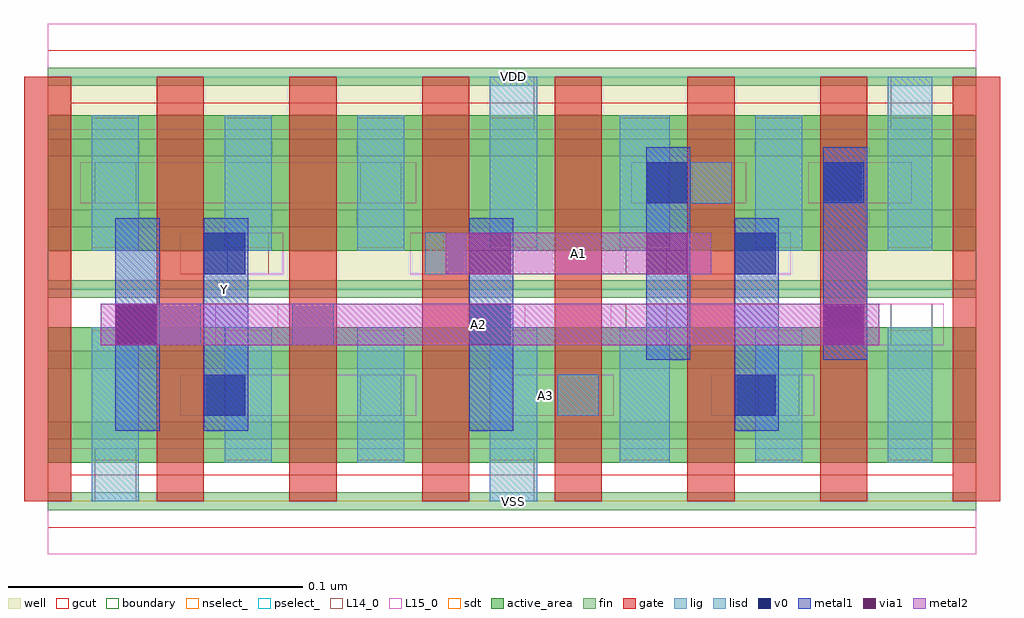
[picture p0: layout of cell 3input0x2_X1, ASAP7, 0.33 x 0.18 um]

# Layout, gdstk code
import gdstk
lib = gdstk.Library(unit=1e-6, precision=1e-09)
def R(c, l, rs):  # rectangles x0, y0, x1, y1
    for r in rs: c.add(gdstk.rectangle(r[:2], r[2:], *l))
def A(c, l, x, y, w, h, nx, ny, dx, dy):  # array of equal rectangles
    R(c, l, [(x+i*dx, y+j*dy, x+i*dx+w, y+j*dy+h) for i in range(nx) for j in range(ny)])
def P(c, l, *ps):  # polygons
    for p in ps: c.add(gdstk.Polygon(p, *l))
well = (1, 0)
fin = (2, 0)
gate = (7, 0)
gcut = (10, 0)
active_area = (11, 0)
nselect_ = (12, 0)
pselect_ = (13, 0)
L14_0 = (14, 0)
L15_0 = (15, 0)
lig = (16, 0)
lisd = (17, 0)
v0 = (18, 0)
metal1 = (19, 0)
metal2 = (20, 0)
via1 = (21, 0)
sdt = (88, 0)
boundary = (100, 0)

c_3input0x2_x1 = lib.new_cell('3input0x2_X1')
R(c_3input0x2_x1, well, [(0,0.072,0.315,0.144)])
A(c_3input0x2_x1, fin, 0, -0.003, 0.315, 0.006, 1, 7, 0, 0.024)
A(c_3input0x2_x1, gate, -0.008, 0, 0.016, 0.144, 8, 1, 0.045, 0)
P(c_3input0x2_x1, gcut, [(0,-0.009),(0,0),(-0.008,0),(-0.008,0.135),(0.008,0.135),(0.008,0.009),(0.307,0.009),(0.307,0.135),(-0.008,0.135),(-0.008,0.144),(0,0.144),(0,0.153),(0.315,0.153),(0.315,0.144),(0.323,0.144),(0.323,0),(0.315,0),(0.315,-0.009)])
R(c_3input0x2_x1, active_area, [(0,0.013,0.315,0.059), (0,0.085,0.315,0.131)])
R(c_3input0x2_x1, nselect_, [(0,0,0.315,0.072)])
R(c_3input0x2_x1, pselect_, [(0,0.072,0.315,0.144)])
R(c_3input0x2_x1, L14_0, [(0.016,0,0.03,0.018), (0.15,0,0.165,0.018), (0.106,0.029,0.12,0.043), (0.173,0.029,0.187,0.043), (0.241,0.029,0.255,0.043), (0.038,0.053,0.052,0.067), (0.083,0.053,0.097,0.067), (0.196,0.053,0.21,0.067), (0.286,0.053,0.3,0.067), (0.061,0.077,0.075,0.091), (0.128,0.077,0.142,0.091), (0.196,0.077,0.21,0.091), (0.016,0.101,0.03,0.115), (0.106,0.101,0.12,0.115), (0.218,0.101,0.232,0.115), (0.263,0.101,0.277,0.115), (0.15,0.126,0.165,0.144), (0.286,0.126,0.3,0.144)])
R(c_3input0x2_x1, L15_0, [(0,-0.018,0.315,0.018), (0.045,0.029,0.125,0.043), (0.158,0.029,0.192,0.043), (0.225,0.029,0.26,0.043), (0.018,0.053,0.057,0.067), (0.078,0.053,0.162,0.067), (0.191,0.053,0.304,0.067), (0.045,0.077,0.08,0.091), (0.123,0.077,0.252,0.091), (0.011,0.101,0.125,0.115), (0.198,0.101,0.237,0.115), (0.258,0.101,0.293,0.115), (0,0.126,0.315,0.162)])
R(c_3input0x2_x1, lig, [(0.173,0.029,0.187,0.043), (0.038,0.053,0.052,0.067), (0.083,0.053,0.097,0.067), (0.128,0.077,0.142,0.091), (0.218,0.101,0.232,0.115), (0.263,0.101,0.277,0.115)])
A(c_3input0x2_x1, lisd, 0.015, 0.085, 0.016, 0.046, 3, 1, 0.045, 0)
R(c_3input0x2_x1, lisd, [(0.015,0,0.031,0.059), (0.15,0,0.166,0.059), (0.06,0.013,0.076,0.059), (0.105,0.013,0.121,0.059), (0.194,0.013,0.211,0.059), (0.24,0.013,0.256,0.059), (0.285,0.013,0.3,0.059), (0.15,0.085,0.166,0.144), (0.194,0.085,0.211,0.131), (0.24,0.085,0.256,0.131), (0.285,0.085,0.3,0.144)])
R(c_3input0x2_x1, v0, [(0.053,0.029,0.067,0.043), (0.233,0.029,0.247,0.043), (0.023,0.053,0.037,0.067), (0.143,0.053,0.157,0.067), (0.053,0.077,0.067,0.091), (0.233,0.077,0.247,0.091), (0.203,0.101,0.217,0.115), (0.263,0.101,0.277,0.115)])
A(c_3input0x2_x1, metal1, 0.053, 0.024, 0.015, 0.072, 3, 1, 0.09, 0)
R(c_3input0x2_x1, metal1, [(0.023,0.024,0.038,0.096), (0.203,0.048,0.218,0.12), (0.263,0.048,0.278,0.12)])
R(c_3input0x2_x1, metal2, [(0.018,0.053,0.282,0.067), (0.135,0.077,0.225,0.091)])
R(c_3input0x2_x1, via1, [(0.023,0.053,0.037,0.067), (0.263,0.053,0.277,0.067), (0.143,0.077,0.157,0.091), (0.203,0.077,0.217,0.091)])
A(c_3input0x2_x1, sdt, 0.015, 0.014, 0.016, 0.044, 4, 2, 0.045, 0.072)
R(c_3input0x2_x1, sdt, [(0.194,0.014,0.211,0.058), (0.24,0.014,0.256,0.058), (0.285,0.014,0.3,0.058), (0.194,0.086,0.211,0.13), (0.24,0.086,0.256,0.13), (0.285,0.086,0.3,0.13)])
R(c_3input0x2_x1, boundary, [(0,0,0.315,0.144)])
c_3input0x2_x1.add(gdstk.Label('VSS', (0.158,0), layer=15, texttype=251))
c_3input0x2_x1.add(gdstk.Label('VDD', (0.158,0.144), layer=15, texttype=251))
c_3input0x2_x1.add(gdstk.Label('VSS', (0.158,0), layer=15, texttype=251))
c_3input0x2_x1.add(gdstk.Label('VDD', (0.158,0.144), layer=15, texttype=251))
c_3input0x2_x1.add(gdstk.Label('VSS', (0.158,0), layer=15, texttype=251))
c_3input0x2_x1.add(gdstk.Label('VDD', (0.158,0.144), layer=15, texttype=251))
c_3input0x2_x1.add(gdstk.Label('A3', (0.169,0.036), layer=15, texttype=251))
c_3input0x2_x1.add(gdstk.Label('VSS', (0.158,0), layer=15, texttype=251))
c_3input0x2_x1.add(gdstk.Label('VDD', (0.158,0.144), layer=15, texttype=251))
c_3input0x2_x1.add(gdstk.Label('VSS', (0.158,0), layer=3, texttype=251))
c_3input0x2_x1.add(gdstk.Label('VSS', (0.158,0), layer=3, texttype=251))
c_3input0x2_x1.add(gdstk.Label('VSS', (0.158,0), layer=3, texttype=251))
c_3input0x2_x1.add(gdstk.Label('VSS', (0.158,0), layer=3, texttype=251))
c_3input0x2_x1.add(gdstk.Label('VDD', (0.158,0.144), layer=1, texttype=251))
c_3input0x2_x1.add(gdstk.Label('VDD', (0.158,0.144), layer=1, texttype=251))
c_3input0x2_x1.add(gdstk.Label('VDD', (0.158,0.144), layer=1, texttype=251))
c_3input0x2_x1.add(gdstk.Label('VDD', (0.158,0.144), layer=1, texttype=251))
c_3input0x2_x1.add(gdstk.Label('A2', (0.146,0.06), layer=20, texttype=251))
c_3input0x2_x1.add(gdstk.Label('A1', (0.18,0.084), layer=20, texttype=251))
c_3input0x2_x1.add(gdstk.Label('Y', (0.06,0.072), layer=19, texttype=251))

lib.write_gds('3input0x2_X1.gds')
